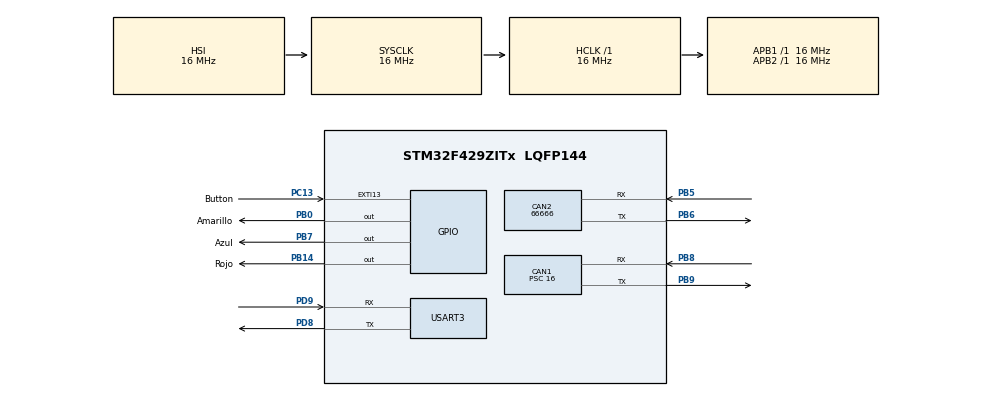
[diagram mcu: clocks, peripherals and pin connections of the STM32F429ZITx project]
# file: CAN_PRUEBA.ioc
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CAN1.BS1=CAN_BS1_13TQ
CAN1.CalculateBaudRate=66666
CAN1.CalculateTimeBit=15000
CAN1.CalculateTimeQuantum=1000.0
CAN1.Mode=CAN_MODE_NORMAL
CAN1.Prescaler=16
CAN2.AWUM=DISABLE
CAN2.BS1=CAN_BS1_13TQ
CAN2.CalculateBaudRate=66666
CAN2.CalculateTimeBit=15000
CAN2.CalculateTimeQuantum=1000.0
Mcu.Family=STM32F4
Mcu.Name=STM32F429ZITx
Mcu.Package=LQFP144
NVIC.CAN2_RX0_IRQn=true\:0\:0\:true\:false\:true\:true\:true\:true
NVIC.PriorityGroup=NVIC_PRIORITYGROUP_4
NVIC.RCC_IRQn=true\:0\:0\:false\:false\:false\:true\:false\:true
PB0.GPIO_Label=Amarillo
PB0.Signal=GPIO_Output
PB14.GPIO_Label=Rojo
PB14.Signal=GPIO_Output
PB5.GPIO_PuPd=GPIO_NOPULL
PB5.Mode=CAN_Activate
PB5.Signal=CAN2_RX
PB6.GPIO_PuPd=GPIO_NOPULL
PB6.Mode=CAN_Activate
PB6.Signal=CAN2_TX
PB7.GPIO_Label=Azul
PB7.Signal=GPIO_Output
PB8.GPIO_PuPd=GPIO_NOPULL
PB8.Mode=CAN_Activate
PB8.Signal=CAN1_RX
PB9.GPIO_PuPd=GPIO_NOPULL
PB9.Mode=CAN_Activate
PB9.Signal=CAN1_TX
PC13.GPIO_Label=Button
PC13.Signal=GPXTI13
PD8.Mode=Asynchronous
PD8.Signal=USART3_TX
PD9.Mode=Asynchronous
PD9.Signal=USART3_RX
ProjectManager.HeapSize=0x200
ProjectManager.StackSize=0x400
ProjectManager.TargetToolchain=STM32CubeIDE
RCC.AHBFreq_Value=16000000
RCC.APB1Freq_Value=16000000
RCC.APB2Freq_Value=16000000
RCC.CortexFreq_Value=16000000
RCC.HSE_VALUE=25000000
RCC.HSI_VALUE=16000000
RCC.LSE_VALUE=32768
RCC.SYSCLKFreq_VALUE=16000000
RCC.VCOOutputFreq_Value=192000000
USART3.VirtualMode=VM_ASYNC
board=custom

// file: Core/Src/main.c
/* USER CODE BEGIN Header */
/**
  ******************************************************************************
  * @file           : main.c
  * @brief          : Main program body
  ******************************************************************************
  * @attention
  *
  * Copyright (c) 2023 STMicroelectronics.
  * All rights reserved.
  *
  * This software is licensed under terms that can be found in the LICENSE file
  * in the root directory of this software component.
  * If no LICENSE file comes with this software, it is provided AS-IS.
  *
  ******************************************************************************
  */
/* USER CODE END Header */
#include "main.h"
#include <stdio.h>
#include <stdlib.h>
#include <pthread.h>

CAN_HandleTypeDef hcan1;
CAN_HandleTypeDef hcan2;

UART_HandleTypeDef huart3;

void SystemClock_Config(void);
static void MX_GPIO_Init(void);
static void MX_CAN1_Init(void);
static void MX_CAN2_Init(void);
static void MX_USART3_UART_Init(void);

/* USER CODE BEGIN 0 */

CAN_TxHeaderTypeDef TxHeader;
CAN_TxHeaderTypeDef TxHeader2;
CAN_RxHeaderTypeDef RxHeader;
CAN_RxHeaderTypeDef RxHeader2;
CAN_FilterTypeDef sFilterConfig;

uint32_t TxMailbox;
uint8_t  TxData[1];
uint8_t  RxData[1];

int datacheck = 0;
int i=0,a;

int _write(int file,char *ptr,int len)
{
	 HAL_UART_Transmit(&huart3, (uint8_t*)ptr, len, HAL_MAX_DELAY);
	 return len;
}

void *procesoSeparado(void *data)
{	char *texto = (char *) data;

	while(1)
	{
		printf("%s\n",texto);

	}
}

//void HAL_GPIO_EXTI_Callback(uint16_t GPIO_Button_Pin)
//  {
//	if( GPIO_Button_Pin == GPIO_PIN_13)
//		{
//			 HAL_GPIO_TogglePin(Amarillo_GPIO_Port, Amarillo_Pin);
//
//		}
//  }

void  HAL_CAN_RxFifo0MsgPendingCallback(CAN_HandleTypeDef *hcan2)
  {
	HAL_GPIO_TogglePin(Amarillo_GPIO_Port, Amarillo_Pin);

	if (HAL_CAN_GetRxMessage(hcan2, CAN_RX_FIFO0, &RxHeader2, RxData) != HAL_OK)
	  {
	    Error_Handler();
	  }

	  if ((RxHeader2.StdId == 46))
	  {
		  datacheck = 1;
	  }
  }
/* USER CODE END 0 */

int main(void)
{

  /* MCU Configuration--------------------------------------------------------*/

  /* Reset of all peripherals, Initializes the Flash interface and the Systick. */
  HAL_Init();

  /* Configure the system clock */
  SystemClock_Config();

  /* Initialize all configured peripherals */
  MX_GPIO_Init();
  MX_CAN1_Init();
  MX_CAN2_Init();
  MX_USART3_UART_Init();
  /* USER CODE BEGIN 2 */

//pthread_t proceso1;
//pthread_t proceso2;
//pthread_create(&proceso1, NULL, &procesoSeparado, "hola");
//pthread_create(&proceso2, NULL, &procesoSeparado, "adios");
//pthread_join(proceso1,NULL);
//pthread_join(proceso2,NULL);

printf("Protocolo de Comuncacion CAN activo:\n\rCAN 1: PB8=Rx PB9=Tx\n\rCAN 2: PB5=Rx PB6=Tx \n\r");

  TxHeader.IDE = CAN_ID_STD;
  TxHeader.StdId = 46;
  TxHeader.RTR = CAN_RTR_DATA;
  TxHeader.DLC = 1;
  TxHeader.TransmitGlobalTime = DISABLE;

  RxHeader.IDE = CAN_ID_STD;
  RxHeader.StdId = 46;
  RxHeader.RTR = CAN_RTR_DATA;
  RxHeader.DLC = 1;

  TxHeader2.IDE = CAN_ID_STD;
  TxHeader2.StdId = 20;
  TxHeader2.RTR = CAN_RTR_DATA;
  TxHeader2.DLC = 1;
  TxHeader2.TransmitGlobalTime = DISABLE;

  RxHeader2.IDE = CAN_ID_STD;
  RxHeader2.StdId = 20;
  RxHeader2.RTR = CAN_RTR_DATA;
  RxHeader2.DLC = 1;

  /* USER CODE END 2 */

  /* Infinite loop */
  while (1)
  {

    /* USER CODE BEGIN 3 */

	  for(a=49;a<58;a++)
	  {  TxData[0] = a;

			if (HAL_CAN_AddTxMessage(&hcan1, &TxHeader, TxData, &TxMailbox) != HAL_OK)
	  		 	{
				   HAL_GPIO_TogglePin(Amarillo_GPIO_Port, Amarillo_Pin);
	  		 	   Error_Handler ();
	  		 	}
			printf("\nCAN2 RX:- CANID: %d, LEN: %d  RxData:%s\n\r",(char *)RxHeader2.StdId,( char *)RxHeader2.DLC,(uint8_t *)TxData);
			HAL_GPIO_TogglePin(Azul_GPIO_Port, Azul_Pin);
			HAL_Delay(500);

	  if (datacheck)
	  {
		  HAL_GPIO_TogglePin(Rojo_GPIO_Port, Rojo_Pin);
		  HAL_Delay(50);
		  datacheck = 0;
	  }

	  }

  }
  /* USER CODE END 3 */
}

void SystemClock_Config(void)
{
  RCC_OscInitTypeDef RCC_OscInitStruct = {0};
  RCC_ClkInitTypeDef RCC_ClkInitStruct = {0};

  /** Configure the main internal regulator output voltage
  */
  __HAL_RCC_PWR_CLK_ENABLE();
  __HAL_PWR_VOLTAGESCALING_CONFIG(PWR_REGULATOR_VOLTAGE_SCALE3);

  /** Initializes the RCC Oscillators according to the specified parameters
  * in the RCC_OscInitTypeDef structure.
  */
  RCC_OscInitStruct.OscillatorType = RCC_OSCILLATORTYPE_HSI;
  RCC_OscInitStruct.HSIState = RCC_HSI_ON;
  RCC_OscInitStruct.HSICalibrationValue = RCC_HSICALIBRATION_DEFAULT;
  RCC_OscInitStruct.PLL.PLLState = RCC_PLL_NONE;
  if (HAL_RCC_OscConfig(&RCC_OscInitStruct) != HAL_OK)
  {
    Error_Handler();
  }

  /** Initializes the CPU, AHB and APB buses clocks
  */
  RCC_ClkInitStruct.ClockType = RCC_CLOCKTYPE_HCLK|RCC_CLOCKTYPE_SYSCLK
                              |RCC_CLOCKTYPE_PCLK1|RCC_CLOCKTYPE_PCLK2;
  RCC_ClkInitStruct.SYSCLKSource = RCC_SYSCLKSOURCE_HSI;
  RCC_ClkInitStruct.AHBCLKDivider = RCC_SYSCLK_DIV1;
  RCC_ClkInitStruct.APB1CLKDivider = RCC_HCLK_DIV1;
  RCC_ClkInitStruct.APB2CLKDivider = RCC_HCLK_DIV1;

  if (HAL_RCC_ClockConfig(&RCC_ClkInitStruct, FLASH_LATENCY_0) != HAL_OK)
  {
    Error_Handler();
  }
}

static void MX_CAN1_Init(void)
{

  /* USER CODE BEGIN CAN1_Init 0 */

      CAN_FilterTypeDef  sFilterConfig;

  /* USER CODE END CAN1_Init 0 */

  hcan1.Instance = CAN1;
  hcan1.Init.Prescaler = 16;
  hcan1.Init.Mode = CAN_MODE_NORMAL;
  hcan1.Init.SyncJumpWidth = CAN_SJW_1TQ;
  hcan1.Init.TimeSeg1 = CAN_BS1_13TQ;
  hcan1.Init.TimeSeg2 = CAN_BS2_1TQ;
  hcan1.Init.TimeTriggeredMode = DISABLE;
  hcan1.Init.AutoBusOff = DISABLE;
  hcan1.Init.AutoWakeUp = DISABLE;
  hcan1.Init.AutoRetransmission = DISABLE;
  hcan1.Init.ReceiveFifoLocked = DISABLE;
  hcan1.Init.TransmitFifoPriority = DISABLE;
  if (HAL_CAN_Init(&hcan1) != HAL_OK)
  {
    Error_Handler();
  }
  /* USER CODE BEGIN CAN1_Init 2 */
  sFilterConfig.FilterBank = 0;
	  sFilterConfig.FilterMode = CAN_FILTERMODE_IDMASK;
	  sFilterConfig.FilterFIFOAssignment=CAN_RX_FIFO0;
	  sFilterConfig.FilterIdHigh=0;
	  sFilterConfig.FilterIdLow=0;
	  sFilterConfig.FilterMaskIdHigh=0;
	  sFilterConfig.FilterMaskIdLow=0;
	  sFilterConfig.FilterScale=CAN_FILTERSCALE_32BIT;
	  sFilterConfig.FilterActivation=ENABLE;
      sFilterConfig.SlaveStartFilterBank = 14;

      if (HAL_CAN_ConfigFilter(&hcan1, &sFilterConfig) != HAL_OK)
        {
          /* Filter configuration Error */
          Error_Handler();
        }

      HAL_CAN_Start(&hcan1);

        /*##-4- Activate CAN RX notification #######################################*/
        if (HAL_CAN_ActivateNotification(&hcan1, CAN_IT_RX_FIFO0_MSG_PENDING) != HAL_OK)
        {
          /* Notification Error */
          Error_Handler();
        }
  /* USER CODE END CAN1_Init 2 */

}

static void MX_CAN2_Init(void)
{

  /* USER CODE BEGIN CAN2_Init 0 */

	      CAN_FilterTypeDef  sFilterConfig;
  /* USER CODE END CAN2_Init 0 */

  hcan2.Instance = CAN2;
  hcan2.Init.Prescaler = 16;
  hcan2.Init.Mode = CAN_MODE_NORMAL;
  hcan2.Init.SyncJumpWidth = CAN_SJW_1TQ;
  hcan2.Init.TimeSeg1 = CAN_BS1_13TQ;
  hcan2.Init.TimeSeg2 = CAN_BS2_1TQ;
  hcan2.Init.TimeTriggeredMode = DISABLE;
  hcan2.Init.AutoBusOff = DISABLE;
  hcan2.Init.AutoWakeUp = DISABLE;
  hcan2.Init.AutoRetransmission = DISABLE;
  hcan2.Init.ReceiveFifoLocked = DISABLE;
  hcan2.Init.TransmitFifoPriority = DISABLE;
  if (HAL_CAN_Init(&hcan2) != HAL_OK)
  {
    Error_Handler();
  }
  /* USER CODE BEGIN CAN2_Init 2 */
  sFilterConfig.FilterBank = 14;
		  sFilterConfig.FilterMode = CAN_FILTERMODE_IDMASK;
		  sFilterConfig.FilterFIFOAssignment=CAN_RX_FIFO0;
		  sFilterConfig.FilterIdHigh=0;
		  sFilterConfig.FilterIdLow=0;
		  sFilterConfig.FilterMaskIdHigh=0;
		  sFilterConfig.FilterMaskIdLow=0;
		  sFilterConfig.FilterScale=CAN_FILTERSCALE_32BIT;
		  sFilterConfig.FilterActivation=ENABLE;
	      sFilterConfig.SlaveStartFilterBank = 14;

	      if (HAL_CAN_ConfigFilter(&hcan2, &sFilterConfig) != HAL_OK)
	        {
	          /* Filter configuration Error */
	          Error_Handler();
	        }

	      HAL_CAN_Start(&hcan2);

	        /*##-4- Activate CAN RX notification #######################################*/
	        if (HAL_CAN_ActivateNotification(&hcan2, CAN_IT_RX_FIFO0_MSG_PENDING) != HAL_OK)
	        {
	          /* Notification Error */
	          Error_Handler();
	        }
  /* USER CODE END CAN2_Init 2 */

}

static void MX_USART3_UART_Init(void)
{

  huart3.Instance = USART3;
  huart3.Init.BaudRate = 115200;
  huart3.Init.WordLength = UART_WORDLENGTH_8B;
  huart3.Init.StopBits = UART_STOPBITS_1;
  huart3.Init.Parity = UART_PARITY_NONE;
  huart3.Init.Mode = UART_MODE_TX_RX;
  huart3.Init.HwFlowCtl = UART_HWCONTROL_NONE;
  huart3.Init.OverSampling = UART_OVERSAMPLING_16;
  if (HAL_UART_Init(&huart3) != HAL_OK)
  {
    Error_Handler();
  }

}

static void MX_GPIO_Init(void)
{
  GPIO_InitTypeDef GPIO_InitStruct = {0};

  /* GPIO Ports Clock Enable */
  __HAL_RCC_GPIOC_CLK_ENABLE();
  __HAL_RCC_GPIOB_CLK_ENABLE();
  __HAL_RCC_GPIOD_CLK_ENABLE();

  /*Configure GPIO pin Output Level */
  HAL_GPIO_WritePin(GPIOB, Amarillo_Pin|Rojo_Pin|Azul_Pin, GPIO_PIN_RESET);

  /*Configure GPIO pin : Button_Pin */
  GPIO_InitStruct.Pin = Button_Pin;
  GPIO_InitStruct.Mode = GPIO_MODE_IT_RISING;
  GPIO_InitStruct.Pull = GPIO_NOPULL;
  HAL_GPIO_Init(Button_GPIO_Port, &GPIO_InitStruct);

  /*Configure GPIO pins : Amarillo_Pin Rojo_Pin Azul_Pin */
  GPIO_InitStruct.Pin = Amarillo_Pin|Rojo_Pin|Azul_Pin;
  GPIO_InitStruct.Mode = GPIO_MODE_OUTPUT_PP;
  GPIO_InitStruct.Pull = GPIO_NOPULL;
  GPIO_InitStruct.Speed = GPIO_SPEED_FREQ_LOW;
  HAL_GPIO_Init(GPIOB, &GPIO_InitStruct);

}

void Error_Handler(void)
{
  __disable_irq();
  while (1)
  {
  }
}
